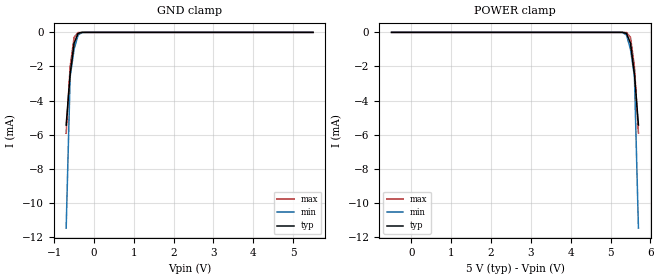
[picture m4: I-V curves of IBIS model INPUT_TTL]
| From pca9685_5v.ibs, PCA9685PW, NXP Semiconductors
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[Model]   INPUT_TTL
Model_type Input
Vinh=3.5
Vinl=1.75
C_comp   1.2p   1p   1.3p
[Temperature Range] 27   85   -40
[Voltage Range]   5   4.5   5.5
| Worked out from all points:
|   GND clamp passes 1 mA (typ) near -0.52 V on its own axis
[GND Clamp]
-700mV    -5.433mA   -11.48mA   -5.912mA
-600mV    -2.458mA   -2.591mA   -2.031mA
-500mV    -633.5uA   -979uA     -284.5uA
-400mV    -54.46uA   -156.3uA   -8.32uA
-300mV    -1.516uA   -7.654uA   -93.07nA
-200mV    -27.2nA    -199.3nA   -811.1pA
5.5V      152.8pA    445.2pA    116.8pA
[POWER Clamp]
-500mV    152.8pA    445.2pA    116.8pA
5.2V      -27.2nA    -199.3nA   -811.1pA
5.3V      -1.516uA   -7.654uA   -93.07nA
5.4V      -54.46uA   -156.3uA   -8.32uA
5.5V      -633.5uA   -979uA     -284.5uA
5.6V      -2.458mA   -2.591mA   -2.031mA
5.7V      -5.433mA   -11.48mA   -5.912mA
